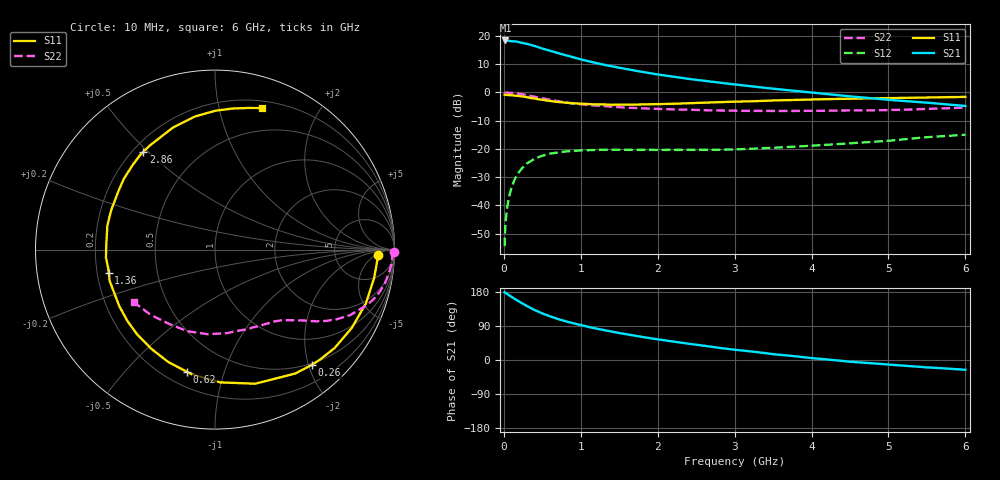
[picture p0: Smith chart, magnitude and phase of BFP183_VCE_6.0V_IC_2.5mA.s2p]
! Infineon Technologies  Discrete & RF Semiconductors
! BFP183
! VCE = 6.0 V,  IC =  2.5 mA
! Common Emitter S-Parameters:  Jan 2016
# GHz  S  MA  R  50
!  f  S11  S21  S12  S22
! GHz  MAG  ANG  MAG  ANG  MAG  ANG  MAG  ANG
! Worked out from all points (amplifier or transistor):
!   210 points, 10 MHz to 6 GHz, reference 50 ohm
!   highest |S21| = 18.4 dB at 20 MHz (marker M1)
!   |S21| within 3 dB of that: start of sweep to 518 MHz
!   unconditionally stable (mu >= 1): 2.023 GHz to 5.888 GHz
!   at 185 MHz: K = 0.10, MSG = 23.3 dB, |S12| = -28.7 dB
!   at 1.52 GHz: K = 0.77, MSG = 14.5 dB, |S12| = -20.3 dB
!   at 6 GHz: K = 0.97, MSG = 5.1 dB, |S12| = -15.0 dB
!   S11 on the Smith chart (normalised r, x): 10 MHz: 19, -6; 260 MHz: 0.47, -2.06; 620 MHz: 0.28, -0.76; 1.36 GHz: 0.25, -0.10; 2.86 GHz: 0.24, +0.48; 6 GHz: 0.26, +1.35
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0.01  0.9105 -1.8  8.196 178.8  0.0019 86.3  0.9971 -0.8
0.02  0.9056 -4.2  8.283 177.7  0.0043 90.3  0.9879 -1.5
0.065  0.8957 -13.0  8.184 171.4  0.0135 82.8  0.9854 -5.0
0.15  0.8781 -29.8  7.97 160.1  0.0305 73.4  0.9645 -11.5
0.2  0.8631 -39.4  7.742 153.7  0.0394 68.3  0.9441 -14.9
0.26  0.8391 -49.9  7.39 146.8  0.0491 62.7  0.9143 -18.6
0.3  0.8225 -57.1  7.24 142.5  0.0552 59.2  0.8914 -20.9
0.4  0.7801 -73.3  6.631 131.7  0.0669 51.3  0.8364 -25.9
0.5  0.7405 -87.7  5.961 122.8  0.0757 44.5  0.7837 -29.6
0.62  0.6984 -103.0  5.353 113.9  0.0832 38.3  0.7306 -33.0
0.7  0.6784 -112.5  4.948 108.3  0.0868 34.7  0.6981 -34.9
0.8  0.6567 -122.8  4.566 102.1  0.09 31.0  0.6647 -36.8
1.02  0.6263 -142.6  3.766 90.9  0.0943 24.9  0.6109 -40.2
1.12  0.6169 -150.9  3.506 86.1  0.0955 22.7  0.5928 -41.5
1.36  0.6065 -167.4  2.967 76.5  0.0967 18.9  0.5612 -44.6
1.6  0.6067 178.4  2.574 67.6  0.0963 16.8  0.5359 -47.5
2.02  0.6193 157.6  2.055 53.9  0.0959 15.3  0.5092 -53.4
2.86  0.6754 126.3  1.45 30.6  0.097 18.1  0.4775 -68.4
3.1  0.6884 119.3  1.334 25.1  0.0991 19.6  0.4708 -73.4
4.1  0.7534 96.8  0.962 3.3  0.1158 24.2  0.4723 -97.7
5.1  0.7951 81.7  0.72 -13.5  0.1434 25.7  0.4894 -124.4
6  0.8313 71.6  0.574 -25.8  0.1777 20.4  0.539 -147.2
